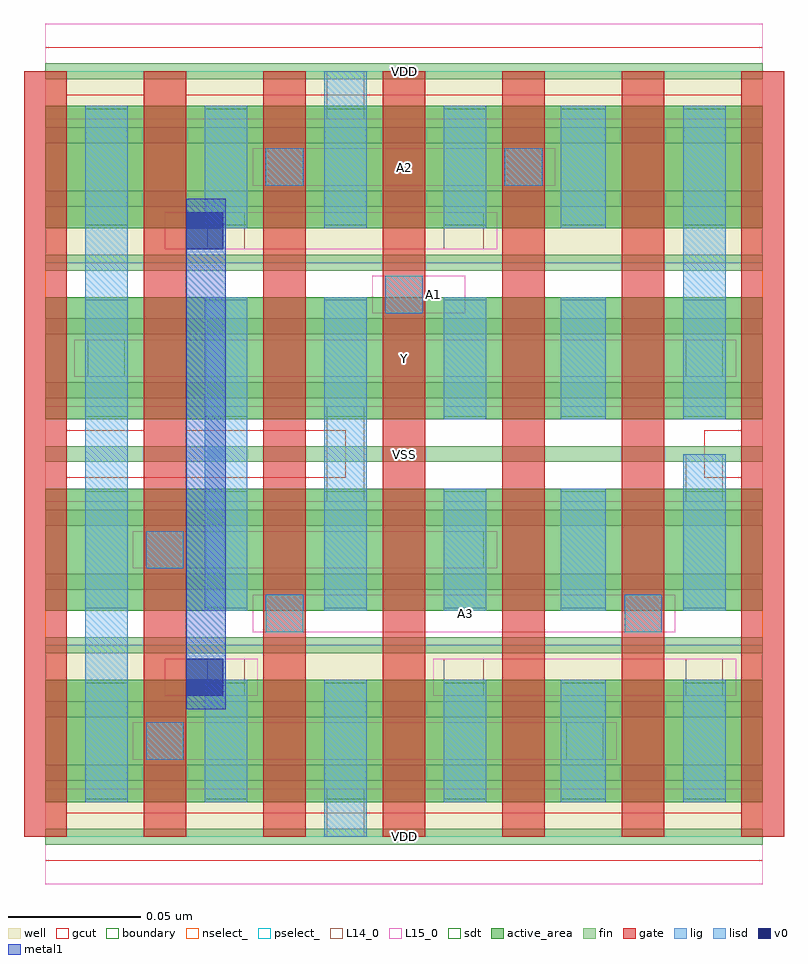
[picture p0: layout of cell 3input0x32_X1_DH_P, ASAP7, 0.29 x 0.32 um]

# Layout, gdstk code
import gdstk
lib = gdstk.Library(unit=1e-6, precision=1e-09)
def R(c, l, rs):  # rectangles x0, y0, x1, y1
    for r in rs: c.add(gdstk.rectangle(r[:2], r[2:], *l))
def A(c, l, x, y, w, h, nx, ny, dx, dy):  # array of equal rectangles
    R(c, l, [(x+i*dx, y+j*dy, x+i*dx+w, y+j*dy+h) for i in range(nx) for j in range(ny)])
def P(c, l, *ps):  # polygons
    for p in ps: c.add(gdstk.Polygon(p, *l))
well = (1, 0)
fin = (2, 0)
gate = (7, 0)
gcut = (10, 0)
active_area = (11, 0)
nselect_ = (12, 0)
pselect_ = (13, 0)
L14_0 = (14, 0)
L15_0 = (15, 0)
lig = (16, 0)
lisd = (17, 0)
v0 = (18, 0)
metal1 = (19, 0)
sdt = (88, 0)
boundary = (100, 0)

c_3input0x32_x1_dh_p = lib.new_cell('3input0x32_X1_DH_P')
R(c_3input0x32_x1_dh_p, well, [(0,0,0.27,0.072), (0,0.216,0.27,0.288)])
A(c_3input0x32_x1_dh_p, fin, 0, -0.003, 0.27, 0.006, 1, 13, 0, 0.024)
A(c_3input0x32_x1_dh_p, gate, -0.008, 0, 0.016, 0.288, 7, 1, 0.045, 0)
P(c_3input0x32_x1_dh_p, gcut, [(0,-0.009),(0,0),(-0.008,0),(-0.008,0.279),(0.008,0.279),(0.008,0.153),(0.037,0.153),(0.037,0.279),(0.053,0.279),(0.053,0.153),(0.113,0.153),(0.113,0.135),(0.008,0.135),(0.008,0.009),(0.262,0.009),(0.262,0.135),(0.248,0.135),(0.248,0.153),(0.262,0.153),(0.262,0.279),(-0.008,0.279),(-0.008,0.288),(0,0.288),(0,0.297),(0.27,0.297),(0.27,0.288),(0.278,0.288),(0.278,0),(0.27,0),(0.27,-0.009)])
A(c_3input0x32_x1_dh_p, active_area, 0, 0.013, 0.27, 0.046, 1, 4, 0, 0.072)
R(c_3input0x32_x1_dh_p, nselect_, [(0,0.072,0.27,0.144), (0,0.144,0.27,0.216)])
R(c_3input0x32_x1_dh_p, pselect_, [(0,0,0.27,0.072), (0,0.216,0.27,0.288)])
R(c_3input0x32_x1_dh_p, L14_0, [(0.106,0,0.12,0.018), (0.038,0.029,0.052,0.043), (0.196,0.029,0.21,0.043), (0.061,0.053,0.075,0.067), (0.15,0.053,0.165,0.067), (0.241,0.053,0.255,0.067), (0.083,0.077,0.097,0.091), (0.218,0.077,0.232,0.091), (0.038,0.101,0.052,0.115), (0.15,0.101,0.165,0.115), (0.106,0.126,0.12,0.144), (0.241,0.126,0.255,0.144), (0.106,0.144,0.12,0.162), (0.016,0.173,0.03,0.187), (0.241,0.173,0.255,0.187), (0.128,0.197,0.142,0.211), (0.061,0.221,0.075,0.235), (0.15,0.221,0.165,0.235), (0.083,0.245,0.097,0.259), (0.173,0.245,0.187,0.259), (0.106,0.27,0.12,0.288)])
A(c_3input0x32_x1_dh_p, L15_0, 0, -0.018, 0.27, 0.036, 1, 3, 0, 0.144)
R(c_3input0x32_x1_dh_p, L15_0, [(0.033,0.029,0.215,0.043), (0.045,0.053,0.08,0.067), (0.146,0.053,0.26,0.067), (0.078,0.077,0.237,0.091), (0.033,0.101,0.17,0.115), (0.011,0.173,0.26,0.187), (0.123,0.197,0.158,0.211), (0.045,0.221,0.17,0.235), (0.078,0.245,0.192,0.259)])
R(c_3input0x32_x1_dh_p, lig, [(0.038,0.029,0.052,0.043), (0.083,0.077,0.097,0.091), (0.218,0.077,0.232,0.091), (0.038,0.101,0.052,0.115), (0.128,0.197,0.142,0.211), (0.083,0.245,0.097,0.259), (0.173,0.245,0.187,0.259)])
A(c_3input0x32_x1_dh_p, lisd, 0.06, 0.013, 0.016, 0.046, 3, 1, 0.09, 0)
A(c_3input0x32_x1_dh_p, lisd, 0.194, 0.013, 0.017, 0.046, 1, 4, 0, 0.072)
A(c_3input0x32_x1_dh_p, lisd, 0.15, 0.085, 0.016, 0.046, 1, 3, 0, 0.072)
R(c_3input0x32_x1_dh_p, lisd, [(0.105,0,0.121,0.059), (0.015,0.013,0.031,0.275), (0.06,0.085,0.076,0.203), (0.105,0.085,0.121,0.203), (0.24,0.085,0.256,0.144), (0.24,0.157,0.256,0.275), (0.06,0.229,0.076,0.275), (0.105,0.229,0.121,0.288)])
R(c_3input0x32_x1_dh_p, v0, [(0.053,0.053,0.067,0.067), (0.053,0.221,0.067,0.235)])
R(c_3input0x32_x1_dh_p, metal1, [(0.053,0.048,0.068,0.24)])
A(c_3input0x32_x1_dh_p, sdt, 0.015, 0.014, 0.016, 0.044, 4, 4, 0.045, 0.072)
A(c_3input0x32_x1_dh_p, sdt, 0.194, 0.014, 0.017, 0.044, 1, 4, 0, 0.072)
A(c_3input0x32_x1_dh_p, sdt, 0.24, 0.014, 0.016, 0.044, 1, 4, 0, 0.072)
R(c_3input0x32_x1_dh_p, boundary, [(0,0,0.27,0.288)])
c_3input0x32_x1_dh_p.add(gdstk.Label('A3', (0.158,0.084), layer=15, texttype=251))
c_3input0x32_x1_dh_p.add(gdstk.Label('VDD', (0.135,0), layer=15, texttype=251))
c_3input0x32_x1_dh_p.add(gdstk.Label('VSS', (0.135,0.144), layer=15, texttype=251))
c_3input0x32_x1_dh_p.add(gdstk.Label('VSS', (0.135,0.144), layer=15, texttype=251))
c_3input0x32_x1_dh_p.add(gdstk.Label('VDD', (0.135,0.288), layer=15, texttype=251))
c_3input0x32_x1_dh_p.add(gdstk.Label('Y', (0.135,0.18), layer=15, texttype=251))
c_3input0x32_x1_dh_p.add(gdstk.Label('VDD', (0.135,0), layer=15, texttype=251))
c_3input0x32_x1_dh_p.add(gdstk.Label('VSS', (0.135,0.144), layer=15, texttype=251))
c_3input0x32_x1_dh_p.add(gdstk.Label('VSS', (0.135,0.144), layer=15, texttype=251))
c_3input0x32_x1_dh_p.add(gdstk.Label('VDD', (0.135,0.288), layer=15, texttype=251))
c_3input0x32_x1_dh_p.add(gdstk.Label('A2', (0.135,0.252), layer=15, texttype=251))
c_3input0x32_x1_dh_p.add(gdstk.Label('VDD', (0.135,0), layer=15, texttype=251))
c_3input0x32_x1_dh_p.add(gdstk.Label('VSS', (0.135,0.144), layer=15, texttype=251))
c_3input0x32_x1_dh_p.add(gdstk.Label('VSS', (0.135,0.144), layer=15, texttype=251))
c_3input0x32_x1_dh_p.add(gdstk.Label('VDD', (0.135,0.288), layer=15, texttype=251))
c_3input0x32_x1_dh_p.add(gdstk.Label('A1', (0.146,0.204), layer=15, texttype=251))
c_3input0x32_x1_dh_p.add(gdstk.Label('VDD', (0.135,0), layer=15, texttype=251))
c_3input0x32_x1_dh_p.add(gdstk.Label('VSS', (0.135,0.144), layer=15, texttype=251))
c_3input0x32_x1_dh_p.add(gdstk.Label('VSS', (0.135,0.144), layer=15, texttype=251))
c_3input0x32_x1_dh_p.add(gdstk.Label('VDD', (0.135,0.288), layer=15, texttype=251))
c_3input0x32_x1_dh_p.add(gdstk.Label('VSS', (0.135,0.144), layer=3, texttype=251))
c_3input0x32_x1_dh_p.add(gdstk.Label('VSS', (0.135,0.144), layer=3, texttype=251))
c_3input0x32_x1_dh_p.add(gdstk.Label('VSS', (0.135,0.144), layer=3, texttype=251))
c_3input0x32_x1_dh_p.add(gdstk.Label('VSS', (0.135,0.144), layer=3, texttype=251))
c_3input0x32_x1_dh_p.add(gdstk.Label('VSS', (0.135,0.144), layer=3, texttype=251))
c_3input0x32_x1_dh_p.add(gdstk.Label('VSS', (0.135,0.144), layer=3, texttype=251))
c_3input0x32_x1_dh_p.add(gdstk.Label('VSS', (0.135,0.144), layer=3, texttype=251))
c_3input0x32_x1_dh_p.add(gdstk.Label('VSS', (0.135,0.144), layer=3, texttype=251))
c_3input0x32_x1_dh_p.add(gdstk.Label('VDD', (0.135,0), layer=1, texttype=251))
c_3input0x32_x1_dh_p.add(gdstk.Label('VDD', (0.135,0.288), layer=1, texttype=251))
c_3input0x32_x1_dh_p.add(gdstk.Label('VDD', (0.135,0), layer=1, texttype=251))
c_3input0x32_x1_dh_p.add(gdstk.Label('VDD', (0.135,0.288), layer=1, texttype=251))
c_3input0x32_x1_dh_p.add(gdstk.Label('VDD', (0.135,0), layer=1, texttype=251))
c_3input0x32_x1_dh_p.add(gdstk.Label('VDD', (0.135,0.288), layer=1, texttype=251))
c_3input0x32_x1_dh_p.add(gdstk.Label('VDD', (0.135,0), layer=1, texttype=251))
c_3input0x32_x1_dh_p.add(gdstk.Label('VDD', (0.135,0.288), layer=1, texttype=251))

lib.write_gds('3input0x32_X1_DH_P.gds')
